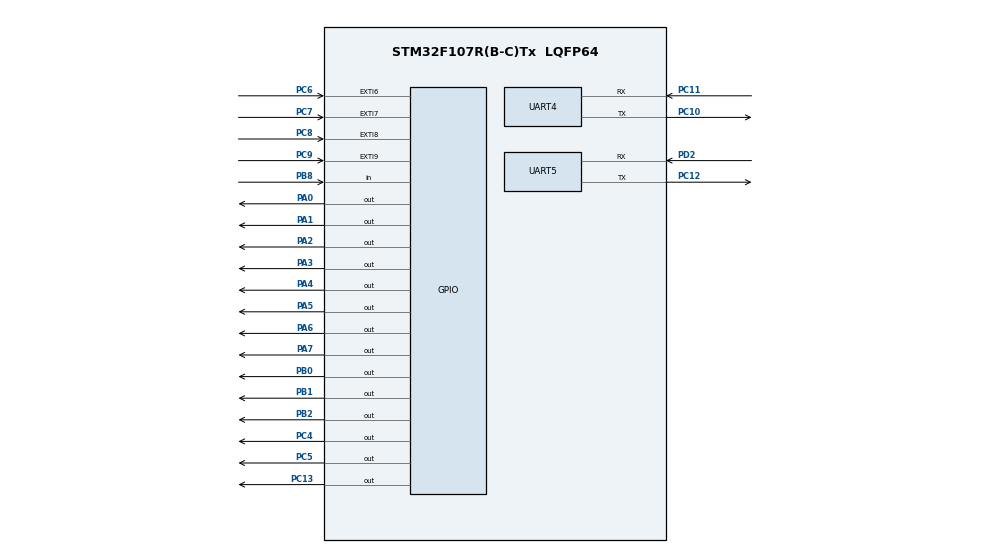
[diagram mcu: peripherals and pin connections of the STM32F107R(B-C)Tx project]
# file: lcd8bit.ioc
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Mcu.Family=STM32F1
Mcu.Name=STM32F107R(B-C)Tx
Mcu.Package=LQFP64
NVIC.EXTI9_5_IRQn=true\:8\:0\:true\:false\:true\:true\:true\:true
NVIC.PriorityGroup=NVIC_PRIORITYGROUP_4
NVIC.UART5_IRQn=true\:0\:0\:false\:false\:true\:true\:true\:true
PA0-WKUP.Signal=GPIO_Output
PA1.Signal=GPIO_Output
PA2.Signal=GPIO_Output
PA3.Signal=GPIO_Output
PA4.Signal=GPIO_Output
PA5.Signal=GPIO_Output
PA6.Signal=GPIO_Output
PA7.Signal=GPIO_Output
PB0.Signal=GPIO_Output
PB1.Signal=GPIO_Output
PB2.Signal=GPIO_Output
PB8.Signal=GPIO_Input
PC10.Mode=Asynchronous
PC10.Signal=UART4_TX
PC11.Mode=Asynchronous
PC11.Signal=UART4_RX
PC12.Mode=Asynchronous
PC12.Signal=UART5_TX
PC13-TAMPER-RTC.Signal=GPIO_Output
PC4.Signal=GPIO_Output
PC5.Signal=GPIO_Output
PC6.GPIO_PuPd=GPIO_PULLDOWN
PC6.Signal=GPXTI6
PC7.GPIO_PuPd=GPIO_PULLDOWN
PC7.Signal=GPXTI7
PC8.GPIO_PuPd=GPIO_PULLDOWN
PC8.Signal=GPXTI8
PC9.GPIO_PuPd=GPIO_PULLDOWN
PC9.Signal=GPXTI9
PD2.Mode=Asynchronous
PD2.Signal=UART5_RX
ProjectManager.HeapSize=0x200
ProjectManager.StackSize=0x400
ProjectManager.TargetToolchain=STM32CubeIDE
RCC.USBFreq_Value=10666666.666666666
UART4.VirtualMode=Asynchronous
UART5.VirtualMode=Asynchronous
board=custom

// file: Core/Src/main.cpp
/* USER CODE BEGIN Header */
/**
 ******************************************************************************
 * @file           : main.c
 * @brief          : Main program body
 ******************************************************************************
 * @attention
 *
 * Copyright (c) 2023 STMicroelectronics.
 * All rights reserved.
 *
 * This software is licensed under terms that can be found in the LICENSE file
 * in the root directory of this software component.
 * If no LICENSE file comes with this software, it is provided AS-IS.
 *
 ******************************************************************************
 */
/* USER CODE END Header */
#include "main.h"
#include "usart.h"
#include "gpio.h"

/* USER CODE BEGIN Includes */
#include "glcd.h"
#include "lcd_menu.h"
#include "button.h"
#include "string"
#include "string.h"
#include "strings.h"
#include "qrcode.h"
#include <stdarg.h>
/* USER CODE END Includes */

void SystemClock_Config(void);

/* USER CODE BEGIN 0 */
int up_button=0;
int down_button=0;
int ok_button=0;
int reset_button=0;
int buttontimer=0;
void HAL_GPIO_EXTI_Callback(uint16_t GPIO_Pin)
{
	if(GPIO_Pin == GPIO_PIN_6&&HAL_GetTick()-buttontimer>300) // если прерывание поступило от ножки PA9
	{
		up_button=1;
		buttontimer=HAL_GetTick();
	}
	else
		if(GPIO_Pin == GPIO_PIN_7&&HAL_GetTick()-buttontimer>300) // если прерывание поступило от ножки PA9
		{
			down_button=1;
			buttontimer=HAL_GetTick();
		}
		else
			if(GPIO_Pin == GPIO_PIN_8&&HAL_GetTick()-buttontimer>300) // если прерывание поступило от ножки PA9
			{
				ok_button=1;
				buttontimer=HAL_GetTick();

			}
			else
				if(GPIO_Pin == GPIO_PIN_9&&HAL_GetTick()-buttontimer>300) // если прерывание поступило от ножки PA9
				{
					reset_button=1;
					buttontimer=HAL_GetTick();

				}

}

void AdafruitPrint(const char *args, ...)
{
	char StrBuff[256];
	va_list ap;
	va_start(ap, args);
	char len = vsnprintf(StrBuff, sizeof(StrBuff), args, ap);
	va_end(ap);
	HAL_UART_Transmit(&huart5,(uint8_t*)StrBuff,len,100);
}

void QR()
{
	QRCode qrcode;

	char myIpQrData[120] ="https://electronics.stackexchange.com/questions/436803/how-to-design-an-stm32-board-with-uart-over-a-usb-connection";
	//prepareIpQrData(myIpQrData);

	const uint8_t ecc = 0;  //lowest level of error correction
	const uint8_t version = 11;

	uint8_t qrcodeData[qrcode_getBufferSize(version)];
	qrcode_initText(&qrcode,
			qrcodeData,
			version, ecc,
			myIpQrData);

	// Delta time
	//dt = millis() - dt;
	//HAL_UART_Transmit_IT(&huart5,"QR Code Generation Time: ");
	////HAL_UART_Transmit_IT(&huart5,dt);
	//HAL_UART_Transmit_IT(&huart5,"\n\n");

//	AdafruitPrint(myIpQrData);
//	HAL_Delay(100);
//	AdafruitPrint("qrcode.version: ");
//	HAL_Delay(100);
//	char ch[40];
//	sprintf(ch,"%u\n",qrcode.version);
//	AdafruitPrint(ch);
//	AdafruitPrint("qrcode.size: ");
//	HAL_Delay(100);
//	sprintf(ch,"%u\n",qrcode.size);
//	AdafruitPrint(ch);

	// Top quiet zone
	//HAL_UART_Transmit_IT(&huart5,(uint8_t*)"\n\n\n\n",4);
	//HAL_Delay(200);

	int qr[64][64] = {0};
	for (uint8_t y = 0; y < qrcode.size; y++) {
		for (uint8_t x = 0; x < qrcode.size; x++) {
			bool mod = qrcode_getModule(&qrcode, x, y);
			if(mod)
				qr[y][x] = 1;
			//sprintf(ch,"%u",qr[y][x] );
			//AdafruitPrint(ch);
		}
	//	AdafruitPrint("\n");
	}

	int sector8 = 0;
	//goto(y,0)
    		for(int y0 = 0;y0 <64; y0) {
    			for (uint8_t x = 0; x < 64; x++) {
    				for (uint8_t y = y0; y < y0 + 8; y++) {
    					if (qr[y][x] == 1)
    						sector8 |= 1 << y % 8;
    				}
    				glcd_gotoxy(x, y0/8);
    				glcd_putchar(sector8, 0);
    				sector8 = 0;
    			}
    			y0+=8;

    		}

}

/* USER CODE END 0 */

int main(void)
{

	/* MCU Configuration--------------------------------------------------------*/

	/* Reset of all peripherals, Initializes the Flash interface and the Systick. */
	HAL_Init();

	/* Configure the system clock */
	SystemClock_Config();

	/* Initialize all configured peripherals */
	MX_GPIO_Init();
	MX_UART5_Init();
	MX_UART4_Init();
	/* USER CODE BEGIN 2 */
	HAL_UART_Transmit_IT(&huart5,(uint8_t*)"1\n", 2);
	glcd_on();
	glcd_clear_all();
	//QRCode qrcode;
	//uint8_t qrcodeData[qrcode_getBufferSize(3)];
	//qrcode_initText(&qrcode, qrcodeData, 3, 0, "HELLO WORLD");

	// for (uint8_t y = 0; y < qrcode.size; y++) {
	//
	//     // Left quiet zone
	//     HAL_UART_Transmit_IT(&huart5,(uint8_t*)"        ",8);
	//
	//     // Each horizontal module
	//     for (uint8_t x = 0; x < qrcode.size; x++) {
	//
	//         // Print each module (UTF-8 \u2588 is a solid block)
	//    	 HAL_UART_Transmit_IT(&huart5,(uint8_t*)(qrcode_getModule(&qrcode, x, y) ? "\u2588\u2588": "  "),2);
	//
	//     }
	//
	//     HAL_UART_Transmit_IT(&huart5,(uint8_t*)"\n",1);
	// }

    		//HAL_Delay(50);

    		//glcd_puts("HELLO_WORLD\n", 10, 10);
    		menu_init();
    		startMenu();
    		//QRcode qrcode;
    		//HAL_UART_Transmit_IT(&huart5, (uint8_t*)"hello", 5);
    		HAL_GPIO_WritePin(GPIOB, GPIO_PIN_4, GPIO_PIN_RESET);
    		HAL_GPIO_WritePin(GPIOB,  GPIO_PIN_5, GPIO_PIN_RESET);
    		HAL_GPIO_WritePin(GPIOB, GPIO_PIN_6, GPIO_PIN_RESET);
    		HAL_GPIO_WritePin(GPIOB,  GPIO_PIN_7, GPIO_PIN_RESET);
    		HAL_GPIO_WritePin(GPIOB,  GPIO_PIN_8, GPIO_PIN_RESET);
    		//qrcode.init();
    		//qrcode.create("Hello world.");

    		/* USER CODE END 2 */

    		/* Infinite loop */
    		/* USER CODE BEGIN WHILE */
    		while (1)
    		{

    			HAL_GPIO_TogglePin(GPIOC, GPIO_PIN_13);
    			read_button();
    			if(selectedMenuItem->payload.callback != nullptr)
    				selectedMenuItem->payload.callback();
    			//HAL_Delay(100);

    			//  HAL_UART_Transmit(&huart5, (uint8_t*)"hello", 5, 500);

    			// AdafruitPrint("\n");

    			HAL_UART_Transmit_IT(&huart5,(uint8_t*)"\n",1);
    			/* USER CODE END WHILE */

    		}
}

void SystemClock_Config(void)
{
	RCC_OscInitTypeDef RCC_OscInitStruct = {0};
	RCC_ClkInitTypeDef RCC_ClkInitStruct = {0};

	/** Initializes the RCC Oscillators according to the specified parameters
	 * in the RCC_OscInitTypeDef structure.
	 */
	RCC_OscInitStruct.OscillatorType = RCC_OSCILLATORTYPE_HSI;
	RCC_OscInitStruct.HSIState = RCC_HSI_ON;
	RCC_OscInitStruct.HSICalibrationValue = RCC_HSICALIBRATION_DEFAULT;
	RCC_OscInitStruct.PLL.PLLState = RCC_PLL_NONE;
	RCC_OscInitStruct.PLL2.PLL2State = RCC_PLL_NONE;
	if (HAL_RCC_OscConfig(&RCC_OscInitStruct) != HAL_OK)
	{
		Error_Handler();
	}

	/** Initializes the CPU, AHB and APB buses clocks
	 */
	RCC_ClkInitStruct.ClockType = RCC_CLOCKTYPE_HCLK|RCC_CLOCKTYPE_SYSCLK
			|RCC_CLOCKTYPE_PCLK1|RCC_CLOCKTYPE_PCLK2;
	RCC_ClkInitStruct.SYSCLKSource = RCC_SYSCLKSOURCE_HSI;
	RCC_ClkInitStruct.AHBCLKDivider = RCC_SYSCLK_DIV1;
	RCC_ClkInitStruct.APB1CLKDivider = RCC_HCLK_DIV1;
	RCC_ClkInitStruct.APB2CLKDivider = RCC_HCLK_DIV1;

	if (HAL_RCC_ClockConfig(&RCC_ClkInitStruct, FLASH_LATENCY_0) != HAL_OK)
	{
		Error_Handler();
	}

	/** Configure the Systick interrupt time
	 */
	__HAL_RCC_PLLI2S_ENABLE();
}

void Error_Handler(void)
{
	__disable_irq();
	while (1)
	{
	}
}
